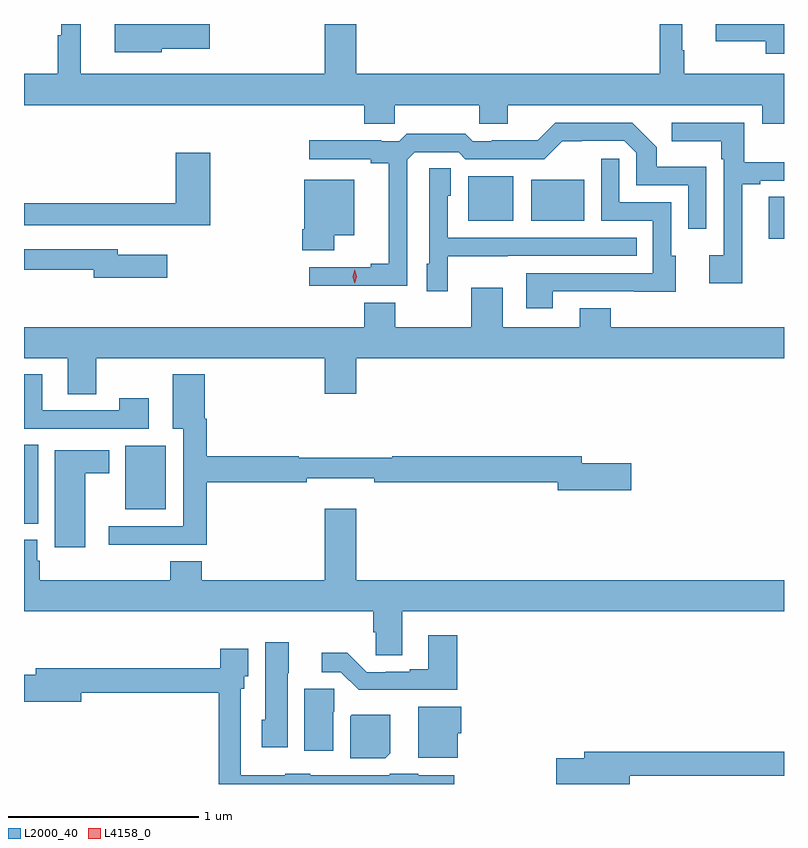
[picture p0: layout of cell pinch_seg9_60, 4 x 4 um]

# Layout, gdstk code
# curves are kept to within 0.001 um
import gdstk
lib = gdstk.Library(unit=1e-6, precision=1e-09)
def R(c, l, rs):  # rectangles x0, y0, x1, y1
    for r in rs: c.add(gdstk.rectangle(r[:2], r[2:], *l))
def P(c, l, *ps):  # polygons
    for p in ps: c.add(gdstk.Polygon(p, *l))
L2000_40 = (2000, 40)
L4158_0 = (4158, 0)

pinch_seg9_60 = lib.new_cell('pinch_seg9_60')
R(pinch_seg9_60, L2000_40, [(906.68,1183.561,906.754,1183.976), (907.214,1183.637,907.426,1183.972), (910.601,1185.062,910.68,1185.281), (909.017,1185.155,909.256,1185.391), (909.35,1185.155,909.628,1185.37)])
P(pinch_seg9_60, L2000_40, [(910.68,1186.191),(910.322,1186.191),(910.322,1186.1),(910.584,1186.1),(910.584,1186.035),(910.68,1186.035)],
  [(907.404,1186.061),(907.657,1186.061),(907.657,1186.191),(907.157,1186.191),(907.157,1186.043),(907.404,1186.043)],
  [(908.471,1185.666),(908.631,1185.666),(908.631,1185.764),(909.076,1185.764),(909.076,1185.666),(909.226,1185.666),(909.226,1185.764),(910.565,1185.764),(910.565,1185.665),(910.68,1185.665),(910.68,1185.928),(910.156,1185.928),(910.156,1186.052),(910.144,1186.052),(910.144,1186.191),(910.027,1186.191),(910.027,1185.928),(908.428,1185.928),(908.428,1186.191),(908.264,1186.191),(908.264,1185.928),(906.979,1185.928),(906.979,1186.191),(906.875,1186.191),(906.875,1186.133),(906.858,1186.133),(906.858,1185.928),(906.68,1185.928),(906.68,1185.764),(908.471,1185.764)],
  [(910.459,1185.348),(910.555,1185.348),(910.555,1185.366),(910.68,1185.366),(910.68,1185.464),(910.471,1185.464),(910.471,1185.672),(910.089,1185.672),(910.089,1185.575),(910.35,1185.575),(910.35,1185.479),(910.362,1185.479),(910.362,1184.974),(910.287,1184.974),(910.287,1184.826),(910.459,1184.826)],
  [(908.697,1185.477),(908.736,1185.516),(908.967,1185.516),(909.003,1185.48),(909.417,1185.48),(909.512,1185.575),(909.84,1185.576),(909.903,1185.513),(909.903,1185.342),(910.176,1185.342),(910.176,1185.114),(910.272,1185.114),(910.272,1185.439),(910.011,1185.439),(910.011,1185.542),(909.88,1185.672),(909.477,1185.672),(909.383,1185.578),(909.142,1185.578),(909.142,1185.573),(909.042,1185.573),(909.003,1185.613),(908.695,1185.613),(908.655,1185.573),(908.561,1185.573),(908.561,1185.578),(908.181,1185.578),(908.181,1185.48),(908.504,1185.48),(908.504,1185.458),(908.6,1185.458),(908.6,1184.93),(908.504,1184.93),(908.504,1184.91),(908.181,1184.91),(908.181,1184.814),(908.697,1184.814)],
  [(907.661,1185.514),(907.478,1185.514),(907.478,1185.248),(906.68,1185.248),(906.68,1185.132),(907.27,1185.132),(907.27,1185.131),(907.661,1185.131)],
  [(909.463,1184.784),(909.893,1184.784),(909.893,1184.783),(910.111,1184.783),(910.111,1184.97),(910.086,1184.97),(910.086,1185.252),(909.813,1185.252),(909.813,1185.481),(909.717,1185.481),(909.717,1185.156),(909.99,1185.156),(909.99,1184.88),(909.323,1184.88),(909.323,1184.694),(909.463,1184.694)],
  [(908.91,1184.969),(909.227,1184.969),(909.227,1184.97),(909.905,1184.97),(909.905,1185.066),(908.91,1185.066),(908.91,1185.288),(908.926,1185.288),(908.926,1185.431),(908.814,1185.431),(908.814,1184.928),(908.801,1184.928),(908.801,1184.784),(908.91,1184.784)],
  [(908.314,1185.08),(908.419,1185.08),(908.419,1185.37),(908.156,1185.37),(908.156,1185.112),(908.144,1185.112),(908.144,1185),(908.314,1185)],
  [(907.435,1184.977),(907.174,1184.977),(907.174,1185.006),(906.68,1185.006),(906.68,1184.898),(907.046,1184.898),(907.046,1184.855),(907.435,1184.855)],
  [(907.059,1184.432),(908.264,1184.432),(908.264,1184.244),(908.428,1184.244),(908.428,1184.432),(910.68,1184.432),(910.68,1184.596),(909.769,1184.596),(909.769,1184.695),(909.605,1184.695),(909.605,1184.596),(909.199,1184.596),(909.199,1184.803),(909.035,1184.803),(909.035,1184.596),(908.635,1184.596),(908.635,1184.725),(908.471,1184.725),(908.471,1184.596),(906.68,1184.596),(906.68,1184.432),(906.911,1184.432),(906.911,1184.242),(907.059,1184.242)],
  [(907.643,1183.78),(908.168,1183.78),(908.168,1183.799),(908.524,1183.799),(908.524,1183.78),(909.488,1183.78),(909.488,1183.738),(909.877,1183.738),(909.877,1183.88),(909.616,1183.88),(909.616,1183.916),(908.619,1183.916),(908.619,1183.909),(908.126,1183.909),(908.126,1183.916),(907.643,1183.916),(907.643,1184.114),(907.63,1184.114),(907.63,1184.347),(907.463,1184.347),(907.463,1184.06),(907.517,1184.06),(907.517,1183.548),(907.125,1183.548),(907.125,1183.451),(907.643,1183.451)],
  [(907.336,1184.221),(907.18,1184.221),(907.18,1184.157),(906.775,1184.157),(906.775,1184.347),(906.68,1184.347),(906.68,1184.061),(907.336,1184.061)],
  [(907.003,1183.826),(907.129,1183.826),(907.129,1183.948),(906.842,1183.948),(906.842,1183.436),(907.003,1183.436)],
  [(908.671,1183.1),(910.68,1183.1),(910.68,1183.264),(908.428,1183.264),(908.428,1183.639),(908.264,1183.639),(908.264,1183.264),(907.616,1183.264),(907.616,1183.363),(907.451,1183.363),(907.451,1183.264),(906.764,1183.264),(906.764,1183.365),(906.751,1183.365),(906.751,1183.476),(906.68,1183.476),(906.68,1183.1),(908.519,1183.1),(908.519,1182.99),(908.532,1182.99),(908.532,1182.868),(908.671,1182.868)],
  [(908.96,1182.973),(908.807,1182.973),(908.807,1182.796),(908.711,1182.796),(908.711,1182.783),(908.584,1182.783),(908.584,1182.78),(908.484,1182.78),(908.382,1182.883),(908.247,1182.883),(908.247,1182.78),(908.346,1182.78),(908.441,1182.686),(908.96,1182.686)],
  [(908.068,1182.774),(908.074,1182.774),(908.074,1182.937),(907.949,1182.937),(907.949,1182.528),(907.931,1182.528),(907.931,1182.384),(908.068,1182.384)],
  [(908.945,1182.238),(908.754,1182.238),(908.754,1182.244),(908.604,1182.244),(908.604,1182.237),(908.187,1182.237),(908.187,1182.244),(908.055,1182.244),(908.055,1182.238),(907.821,1182.238),(907.821,1182.693),(907.84,1182.693),(907.84,1182.759),(907.861,1182.759),(907.861,1182.904),(907.712,1182.904),(907.712,1182.799),(906.743,1182.799),(906.743,1182.765),(906.68,1182.765),(906.68,1182.623),(906.982,1182.623),(906.982,1182.67),(907.705,1182.67),(907.705,1182.191),(908.945,1182.191)],
  [(908.308,1182.57),(908.312,1182.57),(908.312,1182.693),(908.156,1182.693),(908.156,1182.366),(908.308,1182.366)],
  [(908.962,1182.459),(908.98,1182.459),(908.98,1182.598),(908.756,1182.598),(908.756,1182.329),(908.962,1182.329)],
  [(908.608,1182.352),(908.608,1182.556),(908.404,1182.556),(908.396,1182.548),(908.396,1182.326),(908.582,1182.326)],
  [(909.868,1182.234),(910.68,1182.234),(910.68,1182.362),(909.629,1182.362),(909.629,1182.326),(909.48,1182.326),(909.48,1182.191),(909.868,1182.191)])
P(pinch_seg9_60, L4158_0, [(908.421,1184.826),(908.421,1184.826),(908.411,1184.861),(908.421,1184.897),(908.421,1184.898),(908.421,1184.897),(908.431,1184.861),(908.421,1184.826)])

lib.write_gds('pinch_seg9_60.gds')
